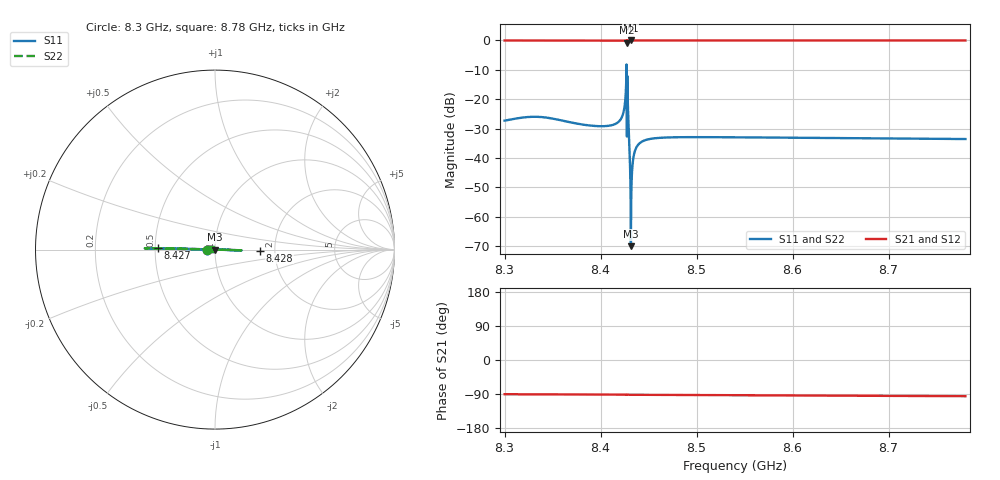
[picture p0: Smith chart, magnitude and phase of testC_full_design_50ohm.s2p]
! Touchstone file exported from HFSS 2024.2.0
!  File:  C:/Users/artho/Documents/Ansoft/ansys_testC.aedt
!  Generated:  01:48:53 AM Sep  7, 2026
!  Design:  HFSS_NT9
!  Project:  ansys_testC
!  Setup:  Setup1
!  Solution:  Sweep1
!Data is not renormalized
! Created with skrf 2.1.0 (http://scikit-rf.org).
! Data is not renormalized
! S-parameter uses the power definition
# GHz S RI R
! Port[1] = p1
! Port[2] = p2
!freq ReS11 ImS11 ReS21 ImS21 ReS12 ImS12 ReS22 ImS22
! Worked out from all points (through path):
!   6001 points, 8.3 GHz to 8.78 GHz, reference per port
!   highest |S21| = 0.00 dB at 8.432 GHz (marker M1); lowest = -0.7 dB at 8.427 GHz (marker M2)
!   group delay of S21, straight-line fit = 30.4 ps
!   lowest |S11| = -70.1 dB at 8.432 GHz (marker M3), VSWR 1.00
!   |S11| at or under -10 dB: start of sweep to 8.427 GHz; 8.427 GHz to end of sweep
!   |S22| runs from -70.1 to -8.2 dB; largest |S21 - S12| = 3.4e-15
!   S11 on the Smith chart (normalised r, x): 8.3 GHz: 0.92, +0.00; 8.427 GHz: 0.52, +0.01; 8.428 GHz: 1.66, -0.02; 8.78 GHz: 0.96, +0.00
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8.3  -0.0431 2.74e-05  -0.00515 -0.999  -0.00515 -0.999  -0.0431 0.000416
! Port Impedance 50.00000000000000 0.00000000000000 50.00000000000000 0.00000000000000
8.33552  -0.0499 0.000399  -0.0119 -0.9987  -0.0119 -0.9987  -0.0499 0.000789
8.38  -0.0372 0.000564  -0.0204 -0.9991  -0.0204 -0.9991  -0.0372 0.000954
8.41464  -0.0374 0.000813  -0.027 -0.9989  -0.027 -0.9989  -0.0373 0.0012
8.42072  -0.0449 0.00107  -0.0281 -0.9986  -0.0281 -0.9986  -0.0449 0.00146
8.4232  -0.0548 0.00137  -0.0285 -0.9981  -0.0285 -0.9981  -0.0548 0.00176
8.42464  -0.0692 0.0018  -0.0287 -0.9972  -0.0287 -0.9972  -0.0692 0.00219
8.42528  -0.082 0.00217  -0.0287 -0.9962  -0.0287 -0.9962  -0.082 0.00256
8.42696  -0.3166 0.00691  -0.0212 -0.9483  -0.0212 -0.9483  -0.3166 0.00728
8.42704  -0.391 0.00688  -0.0166 -0.9202  -0.0166 -0.9202  -0.391 0.00725
8.42776  0.2495 -0.006  -0.0225 -0.9681  -0.0225 -0.9681  0.2495 -0.00562
8.42872  0.0556 -0.00182  -0.0291 -0.998  -0.0291 -0.998  0.0556 -0.00143
8.42952  0.0251 -0.000941  -0.0296 -0.9992  -0.0296 -0.9992  0.0251 -0.00055
8.4316  -0.00025 -0.000189  -0.0302 -0.9995  -0.0302 -0.9995  -0.000238 0.000203
8.43312  -0.00716 2.2e-05  -0.0305 -0.9995  -0.0305 -0.9995  -0.00714 0.000414
8.43536  -0.0125 0.00019  -0.0309 -0.9994  -0.0309 -0.9994  -0.0125 0.000582
8.43944  -0.017 0.000343  -0.0317 -0.9993  -0.0317 -0.9993  -0.017 0.000735
8.46  -0.0218 0.000582  -0.0357 -0.9991  -0.0357 -0.9991  -0.0218 0.000974
8.54008  -0.0224 0.000943  -0.0509 -0.9984  -0.0509 -0.9984  -0.0224 0.00134
8.62  -0.0219 0.00125  -0.0661 -0.9976  -0.0661 -0.9976  -0.0219 0.00165
8.7  -0.0214 0.00155  -0.0813 -0.9964  -0.0813 -0.9964  -0.0213 0.00194
8.78  -0.0208 0.00182  -0.0965 -0.9951  -0.0965 -0.9951  -0.0208 0.00222
